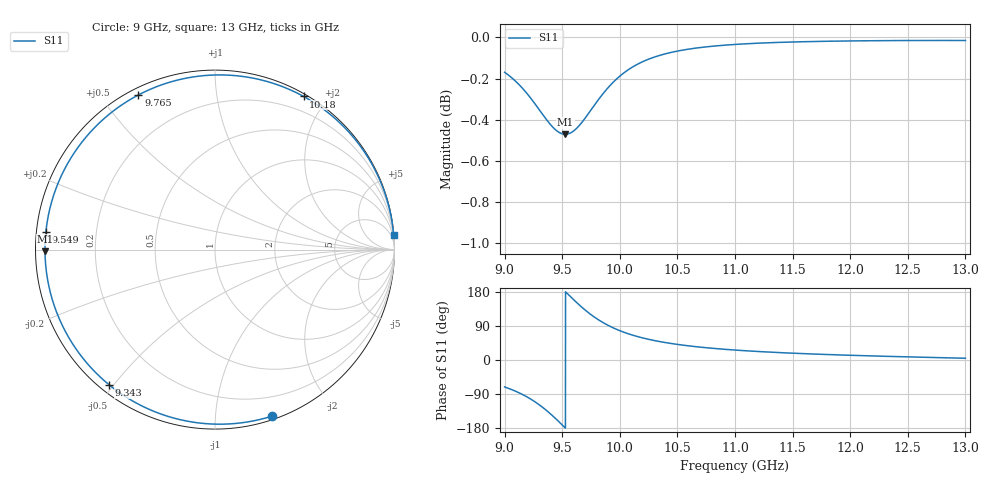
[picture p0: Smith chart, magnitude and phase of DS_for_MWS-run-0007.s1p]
! TOUCHSTONE file generated by CST DESIGN STUDIO
! Date and time: Wed Feb  5 13:18:19 2025
! Project name: C:\Work\MatlabApps\UnitCellOptimizationMatlab\CST\unitcell.cst
! Tree item: Tasks\Sweep1\SPara1\S-Parameters
! Header version: 2024
! Port assignment regex: !\s*Touchstone port\s*([0-9]+)\s*=\s*(CST MWS port|CST DES external port|CST DES block port)\s*(.+)\s* \(\"(.*)\"\)(\s*mode\s*([0-9]+))?.*
! Touchstone port assignment:
! Touchstone port 1 = CST DES external port 1 ("")
# GHz S MA R 50
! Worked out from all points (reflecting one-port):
!   4001 points, 9 GHz to 13 GHz, reference 50 ohm
!   lowest |S11| = -0.5 dB at 9.527 GHz (marker M1), VSWR 36.93, Z = 1.35 - j0.255 ohm
!   phase of S11 starts at -71 deg and turns -284 deg over the sweep
!   S11 on the Smith chart (normalised r, x): 9 GHz: 0.03, -1.40; 9.343 GHz: 0.03, -0.49; 9.549 GHz: 0.03, +0.05; 9.765 GHz: 0.03, +0.62; 10.18 GHz: 0.03, +1.73; 13 GHz: 1, +25
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9  0.9807 -71.1
9.095  0.9758 -82.3
9.201  0.9686 -98.5
9.275  0.9626 -112.6
9.343  0.9567 -128.0
9.386  0.9533 -138.9
9.43  0.9503 -150.9
9.5  0.9475 -171.3
9.527  0.9473 -179.4
9.549  0.9474 174.0
9.603  0.9492 158.0
9.663  0.953 141.2
9.714  0.9571 128.1
9.765  0.9616 116.3
9.814  0.9658 106.2
9.868  0.9701 96.4
9.934  0.9747 86.1
10  0.9786 77.4
10.085  0.9826 68.1
10.177  0.9859 59.9
10.324  0.9896 49.9
10.5  0.9924 41.1
10.721  0.9945 33.2
11  0.9961 26.2
11.5  0.9975 18.0
12  0.998 12.4
12.5  0.9983 8.2
13  0.9983 4.6
